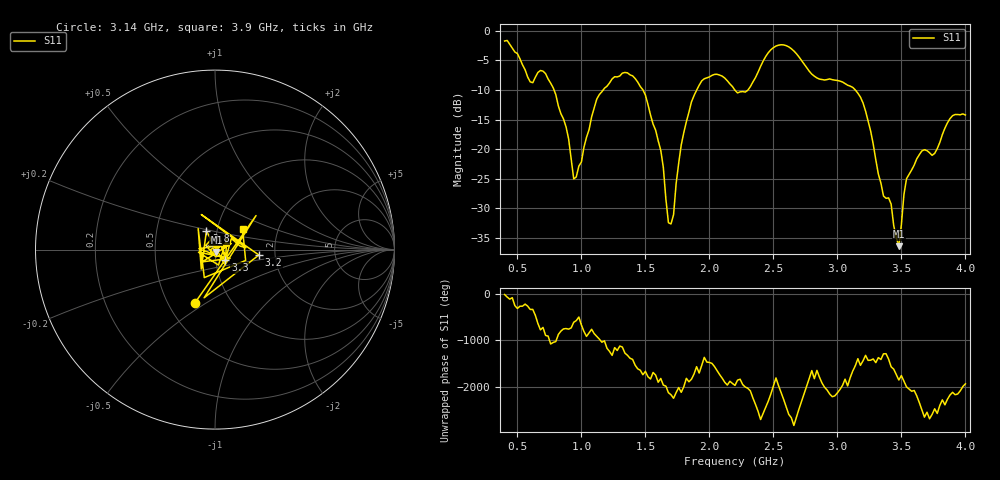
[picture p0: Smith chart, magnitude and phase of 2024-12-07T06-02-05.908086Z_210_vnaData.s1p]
!Created with skrf (http://scikit-rf.org).
# Hz S RI R 50.0
!freq ReS11 ImS11
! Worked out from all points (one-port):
!   181 points, 400 MHz to 4 GHz, reference 50 ohm
!   lowest |S11| = -36.4 dB at 3.48 GHz (marker M1), VSWR 1.03, Z = 50.8 - j1.3 ohm
!   |S11| at or under -10 dB: 786.2 MHz to 1.17 GHz (383.8 MHz wide, 39.2 % of centre); 1.481 GHz to 1.901 GHz (419.9 MHz wide, 24.8 % of centre); 3.14 GHz to end of sweep (the widest 3 of 4)
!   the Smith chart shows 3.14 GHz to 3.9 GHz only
!   S11 on the Smith chart (normalised r, x): 3.14 GHz: 0.68, -0.45; 3.2 GHz: 1.64, -0.11; 3.3 GHz: 1.12, -0.13; 3.8 GHz: 0.89, +0.19; 3.9 GHz: 1.32, +0.32
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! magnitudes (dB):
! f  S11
! 400 MHz  -1.7
! 600 MHz  -8.6
! 720 MHz  -7.2
! 860 MHz  -14.9
! 940 MHz  -25.0
! 1.12 GHz  -11.5
! 1.3 GHz  -7.6
! 1.5 GHz  -10.9
! 1.62 GHz  -20.2
! 1.68 GHz  -32.4
! 1.72 GHz  -31.1
! 1.76 GHz  -22.4
! 1.86 GHz  -12.0
! 1.94 GHz  -8.5
! 2.2 GHz  -10.0
! 2.3 GHz  -10.0
! 2.5 GHz  -2.8
! 2.66 GHz  -3.4
! 3.1 GHz  -9.3
! 3.14 GHz  -10.0
! 3.2 GHz  -12.2
! 3.3 GHz  -21.8
! 3.48 GHz  -36.4
! 3.52 GHz  -27.7
! 3.56 GHz  -24.3
! 3.8 GHz  -18.9
! 3.9 GHz  -14.3
! 4 GHz  -14.2
